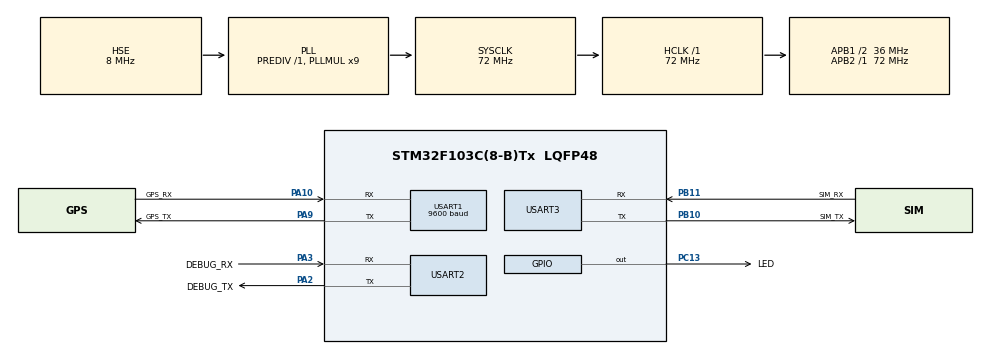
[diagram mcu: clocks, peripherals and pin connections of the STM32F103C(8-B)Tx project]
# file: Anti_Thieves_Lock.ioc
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Mcu.Family=STM32F1
RCC.PLLSourceVirtual=RCC_PLLSOURCE_HSE
PD1-OSC_OUT.Mode=HSE-External-Oscillator
PA10.Mode=Asynchronous
PB10.Mode=Asynchronous
USART1.BaudRate=9600
PA9.GPIO_Label=GPS_TX
PB11.GPIO_Label=SIM_RX
PC13-TAMPER-RTC.Signal=GPIO_Output
PD0-OSC_IN.Signal=RCC_OSC_IN
RCC.APB1CLKDivider=RCC_HCLK_DIV2
PB11.Signal=USART3_RX
RCC.SYSCLKSource=RCC_SYSCLKSOURCE_PLLCLK
ProjectManager.StackSize=0x400
PD1-OSC_OUT.Signal=RCC_OSC_OUT
PA13.Signal=SYS_JTMS-SWDIO
PA3.Mode=Asynchronous
PA9.Mode=Asynchronous
PB11.Mode=Asynchronous
ProjectManager.TargetToolchain=STM32CubeIDE
PB10.GPIO_Label=SIM_TX
RCC.HCLKFreq_Value=72000000
RCC.APB2TimFreq_Value=72000000
PA9.Signal=USART1_TX
RCC.USBFreq_Value=72000000
RCC.AHBFreq_Value=72000000
PD0-OSC_IN.Mode=HSE-External-Oscillator
PB10.Signal=USART3_TX
board=custom
PC13-TAMPER-RTC.GPIO_Label=LED
RCC.PLLMUL=RCC_PLL_MUL9
RCC.APB2Freq_Value=72000000
PA14.Mode=Serial_Wire
PA10.GPIO_Label=GPS_RX
PA13.Mode=Serial_Wire
Mcu.Name=STM32F103C(8-B)Tx
PA2.Signal=USART2_TX
RCC.SYSCLKFreq_VALUE=72000000
Mcu.Package=LQFP48
USART2.VirtualMode=VM_ASYNC
USART3.VirtualMode=VM_ASYNC
USART1.VirtualMode=VM_ASYNC
PA2.GPIO_Label=DEBUG_TX
PA10.Signal=USART1_RX
PA14.Signal=SYS_JTCK-SWCLK
ProjectManager.HeapSize=0x200
NVIC.PriorityGroup=NVIC_PRIORITYGROUP_4
RCC.APB1TimFreq_Value=72000000
PA2.Mode=Asynchronous
NVIC.USART1_IRQn=true\:1\:0\:true\:false\:true\:true\:true
RCC.APB1Freq_Value=36000000
PA3.GPIO_Label=DEBUG_RX
PA3.Signal=USART2_RX

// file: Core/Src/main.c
/* USER CODE BEGIN Header */
/**
  ******************************************************************************
  * @file           : main.c
  * @brief          : Main program body
  ******************************************************************************
  * @attention
  *
  * <h2><center>&copy; Copyright (c) 2021 STMicroelectronics.
  * All rights reserved.</center></h2>
  *
  * This software component is licensed by ST under BSD 3-Clause license,
  * the "License"; You may not use this file except in compliance with the
  * License. You may obtain a copy of the License at:
  *                        opensource.org/licenses/BSD-3-Clause
  *
  ******************************************************************************
  */
/* USER CODE END Header */
#include "main.h"

/* USER CODE BEGIN Includes */
#include "ST47_Sim800.h"
#include "ST47_Neo6M.h"
/* USER CODE END Includes */

UART_HandleTypeDef huart1;
UART_HandleTypeDef huart2;
UART_HandleTypeDef huart3;

void SystemClock_Config(void);
static void MX_GPIO_Init(void);
static void MX_USART1_UART_Init(void);
static void MX_USART2_UART_Init(void);
static void MX_USART3_UART_Init(void);

/* USER CODE BEGIN 0 */
uint32_t time_get_gps = 0;
extern GPS_Struct gps;
bool flag = true;
char firebase_url[70] 	= "https://ggmaptest-304715-default-rtdb.firebaseio.com/";
char device_id[10] 		= "51A89999";
char user_id[30]		= "tungvoson98@gmail.com";

void HAL_UART_RxCpltCallback(UART_HandleTypeDef *huart)
{
	if(huart->Instance == USART1 && flag == true)
	{
		gps_callback();
	}
}
/* USER CODE END 0 */

int main(void)
{

  /* MCU Configuration--------------------------------------------------------*/

  /* Reset of all peripherals, Initializes the Flash interface and the Systick. */
  HAL_Init();

  /* Configure the system clock */
  SystemClock_Config();

  /* Initialize all configured peripherals */
  MX_GPIO_Init();
  MX_USART1_UART_Init();
  MX_USART2_UART_Init();
  MX_USART3_UART_Init();
  /* USER CODE BEGIN 2 */
  simcom_init();
  gps_init();

  /* USER CODE END 2 */

  /* Infinite loop */
  while (1)
  {

    /* USER CODE BEGIN 3 */
	  if(HAL_GetTick() - time_get_gps > 5000)
	  {
		  flag = false;
		  time_get_gps = HAL_GetTick();
		  gps_process_data(gps.buffer);
		  firebase_update(firebase_url, device_id, user_id, gps_get_latitude(), gps_get_longitude());
		  flag = true;
	  }
  }
  /* USER CODE END 3 */
}

void SystemClock_Config(void)
{
  RCC_OscInitTypeDef RCC_OscInitStruct = {0};
  RCC_ClkInitTypeDef RCC_ClkInitStruct = {0};

  /** Initializes the RCC Oscillators according to the specified parameters
  * in the RCC_OscInitTypeDef structure.
  */
  RCC_OscInitStruct.OscillatorType = RCC_OSCILLATORTYPE_HSE;
  RCC_OscInitStruct.HSEState = RCC_HSE_ON;
  RCC_OscInitStruct.HSEPredivValue = RCC_HSE_PREDIV_DIV1;
  RCC_OscInitStruct.HSIState = RCC_HSI_ON;
  RCC_OscInitStruct.PLL.PLLState = RCC_PLL_ON;
  RCC_OscInitStruct.PLL.PLLSource = RCC_PLLSOURCE_HSE;
  RCC_OscInitStruct.PLL.PLLMUL = RCC_PLL_MUL9;
  if (HAL_RCC_OscConfig(&RCC_OscInitStruct) != HAL_OK)
  {
    Error_Handler();
  }
  /** Initializes the CPU, AHB and APB buses clocks
  */
  RCC_ClkInitStruct.ClockType = RCC_CLOCKTYPE_HCLK|RCC_CLOCKTYPE_SYSCLK
                              |RCC_CLOCKTYPE_PCLK1|RCC_CLOCKTYPE_PCLK2;
  RCC_ClkInitStruct.SYSCLKSource = RCC_SYSCLKSOURCE_PLLCLK;
  RCC_ClkInitStruct.AHBCLKDivider = RCC_SYSCLK_DIV1;
  RCC_ClkInitStruct.APB1CLKDivider = RCC_HCLK_DIV2;
  RCC_ClkInitStruct.APB2CLKDivider = RCC_HCLK_DIV1;

  if (HAL_RCC_ClockConfig(&RCC_ClkInitStruct, FLASH_LATENCY_2) != HAL_OK)
  {
    Error_Handler();
  }
}

static void MX_USART1_UART_Init(void)
{

  huart1.Instance = USART1;
  huart1.Init.BaudRate = 9600;
  huart1.Init.WordLength = UART_WORDLENGTH_8B;
  huart1.Init.StopBits = UART_STOPBITS_1;
  huart1.Init.Parity = UART_PARITY_NONE;
  huart1.Init.Mode = UART_MODE_TX_RX;
  huart1.Init.HwFlowCtl = UART_HWCONTROL_NONE;
  huart1.Init.OverSampling = UART_OVERSAMPLING_16;
  if (HAL_UART_Init(&huart1) != HAL_OK)
  {
    Error_Handler();
  }

}

static void MX_USART2_UART_Init(void)
{

  huart2.Instance = USART2;
  huart2.Init.BaudRate = 115200;
  huart2.Init.WordLength = UART_WORDLENGTH_8B;
  huart2.Init.StopBits = UART_STOPBITS_1;
  huart2.Init.Parity = UART_PARITY_NONE;
  huart2.Init.Mode = UART_MODE_TX_RX;
  huart2.Init.HwFlowCtl = UART_HWCONTROL_NONE;
  huart2.Init.OverSampling = UART_OVERSAMPLING_16;
  if (HAL_UART_Init(&huart2) != HAL_OK)
  {
    Error_Handler();
  }

}

static void MX_USART3_UART_Init(void)
{

  huart3.Instance = USART3;
  huart3.Init.BaudRate = 115200;
  huart3.Init.WordLength = UART_WORDLENGTH_8B;
  huart3.Init.StopBits = UART_STOPBITS_1;
  huart3.Init.Parity = UART_PARITY_NONE;
  huart3.Init.Mode = UART_MODE_TX_RX;
  huart3.Init.HwFlowCtl = UART_HWCONTROL_NONE;
  huart3.Init.OverSampling = UART_OVERSAMPLING_16;
  if (HAL_UART_Init(&huart3) != HAL_OK)
  {
    Error_Handler();
  }

}

static void MX_GPIO_Init(void)
{
  GPIO_InitTypeDef GPIO_InitStruct = {0};

  /* GPIO Ports Clock Enable */
  __HAL_RCC_GPIOC_CLK_ENABLE();
  __HAL_RCC_GPIOD_CLK_ENABLE();
  __HAL_RCC_GPIOA_CLK_ENABLE();
  __HAL_RCC_GPIOB_CLK_ENABLE();

  /*Configure GPIO pin Output Level */
  HAL_GPIO_WritePin(LED_GPIO_Port, LED_Pin, GPIO_PIN_RESET);

  /*Configure GPIO pin : LED_Pin */
  GPIO_InitStruct.Pin = LED_Pin;
  GPIO_InitStruct.Mode = GPIO_MODE_OUTPUT_PP;
  GPIO_InitStruct.Pull = GPIO_NOPULL;
  GPIO_InitStruct.Speed = GPIO_SPEED_FREQ_LOW;
  HAL_GPIO_Init(LED_GPIO_Port, &GPIO_InitStruct);

}

void Error_Handler(void)
{
  __disable_irq();
  while (1)
  {
  }
}

/************************ (C) COPYRIGHT STMicroelectronics *****END OF FILE****/
